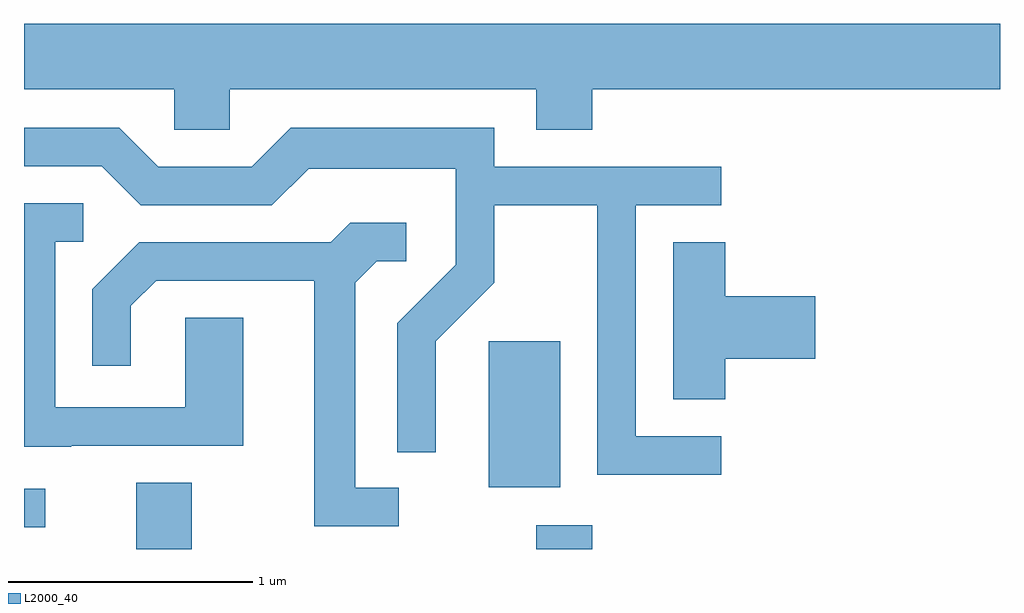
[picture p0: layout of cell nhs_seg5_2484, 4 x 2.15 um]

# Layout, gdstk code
import gdstk
lib = gdstk.Library(unit=1e-6, precision=1e-09)
def R(c, l, rs):  # rectangles x0, y0, x1, y1
    for r in rs: c.add(gdstk.rectangle(r[:2], r[2:], *l))
def P(c, l, *ps):  # polygons
    for p in ps: c.add(gdstk.Polygon(p, *l))
L2000_40 = (2000, 40)

nhs_seg5_2484 = lib.new_cell('nhs_seg5_2484')
R(nhs_seg5_2484, L2000_40, [(260.071,1406.072,260.299,1406.344), (261.711,1406.072,261.939,1406.169), (259.611,1406.161,259.698,1406.319), (261.516,1406.326,261.809,1406.924)])
P(nhs_seg5_2484, L2000_40, [(260.454,1407.956),(261.711,1407.956),(261.711,1407.791),(261.939,1407.791),(261.939,1407.956),(263.611,1407.956),(263.611,1408.224),(259.611,1408.224),(259.611,1407.956),(260.226,1407.956),(260.226,1407.791),(260.454,1407.791)],
  [(262.468,1406.534),(262.119,1406.534),(262.119,1407.481),(262.468,1407.481),(262.468,1407.639),(261.539,1407.639),(261.539,1407.799),(260.704,1407.799),(260.544,1407.639),(260.162,1407.639),(260.002,1407.799),(259.611,1407.799),(259.611,1407.641),(259.929,1407.641),(260.089,1407.481),(260.627,1407.481),(260.777,1407.631),(261.381,1407.631),(261.381,1407.237),(261.141,1406.997),(261.141,1406.468),(261.299,1406.468),(261.299,1406.924),(261.539,1407.164),(261.539,1407.481),(261.961,1407.481),(261.961,1406.376),(262.468,1406.376)],
  [(259.805,1406.496),(260.509,1406.496),(260.509,1407.019),(260.271,1407.019),(260.271,1406.654),(259.739,1406.654),(259.739,1407.331),(259.853,1407.331),(259.853,1407.489),(259.611,1407.489),(259.611,1406.491),(259.805,1406.491)],
  [(261.147,1406.324),(260.969,1406.324),(260.969,1407.164),(261.057,1407.251),(261.178,1407.251),(261.178,1407.409),(260.949,1407.409),(260.868,1407.329),(260.084,1407.329),(259.891,1407.137),(259.891,1406.823),(260.049,1406.823),(260.049,1407.069),(260.152,1407.171),(260.801,1407.171),(260.801,1406.166),(261.147,1406.166)],
  [(262.484,1406.851),(262.854,1406.851),(262.854,1407.109),(262.484,1407.109),(262.484,1407.329),(262.271,1407.329),(262.271,1406.686),(262.484,1406.686)])

lib.write_gds('nhs_seg5_2484.gds')
